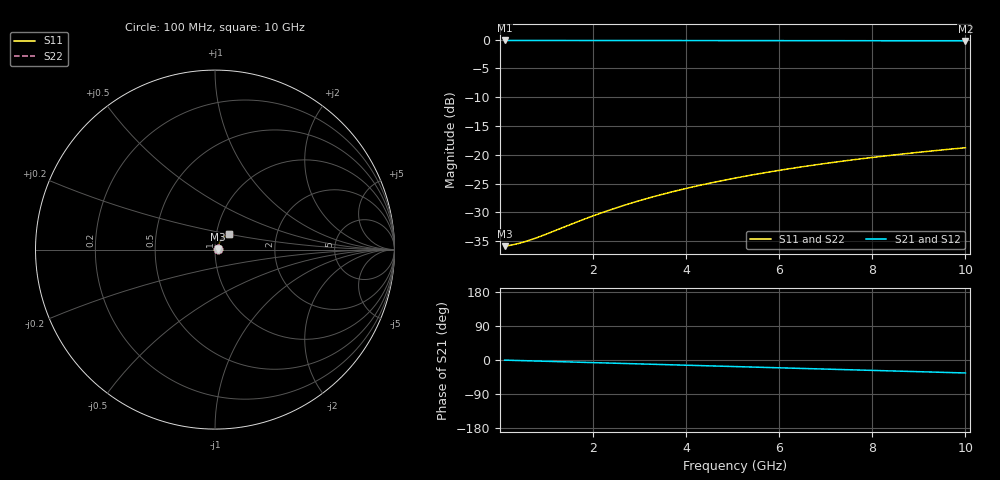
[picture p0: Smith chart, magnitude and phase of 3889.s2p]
# Hz S RI R 50.00
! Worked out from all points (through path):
!   100 points, 100 MHz to 10 GHz, reference 50 ohm
!   highest |S21| = -0.14 dB at 100 MHz (marker M1); lowest = -0.2 dB at 10 GHz (marker M2)
!   group delay of S21, straight-line fit = 9.52 ps
!   lowest |S11| = -35.8 dB at 100 MHz (marker M3), VSWR 1.03, Z = 51.6 + j0.116 ohm
!   |S11| at or under -10 dB: start of sweep to end of sweep
!   |S22| runs from -35.8 to -18.8 dB; largest |S21 - S12| = 0
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1e8  0.0161 0.00112  0.9839 -0.0059  0.9839 -0.0059  0.0161 0.00112
3e8  0.0163 0.00337  0.9836 -0.0177  0.9836 -0.0177  0.0163 0.00337
4e8  0.0164 0.00449  0.9834 -0.0236  0.9834 -0.0236  0.0164 0.00449
5e8  0.0165 0.00561  0.9831 -0.0295  0.9831 -0.0295  0.0165 0.00561
7e8  0.0168 0.00784  0.9826 -0.0413  0.9826 -0.0413  0.0168 0.00784
1e9  0.0172 0.0112  0.9816 -0.059  0.9816 -0.059  0.0172 0.0112
1.8e9  0.019 0.02  0.9772 -0.1059  0.9772 -0.1059  0.019 0.02
2.2e9  0.0201 0.0243  0.9742 -0.1293  0.9742 -0.1293  0.0201 0.0243
2.6e9  0.0215 0.0286  0.9706 -0.1526  0.9706 -0.1526  0.0215 0.0286
3e9  0.0231 0.0328  0.9664 -0.1758  0.9664 -0.1758  0.0231 0.0328
3.4e9  0.0248 0.0369  0.9617 -0.1989  0.9617 -0.1989  0.0248 0.0369
3.8e9  0.0268 0.0409  0.9564 -0.2218  0.9564 -0.2218  0.0268 0.0409
4.2e9  0.029 0.0448  0.9506 -0.2446  0.9506 -0.2446  0.029 0.0448
4.6e9  0.0313 0.0486  0.9442 -0.2672  0.9442 -0.2672  0.0313 0.0486
5.1e9  0.0345 0.0532  0.9354 -0.2952  0.9354 -0.2952  0.0345 0.0532
5.5e9  0.0372 0.0567  0.9277 -0.3174  0.9277 -0.3174  0.0372 0.0567
5.9e9  0.0401 0.0601  0.9196 -0.3393  0.9196 -0.3393  0.0401 0.0601
6.7e9  0.0464 0.0664  0.9016 -0.3826  0.9016 -0.3826  0.0464 0.0664
7.5e9  0.0533 0.0721  0.8816 -0.4248  0.8816 -0.4248  0.0533 0.0721
8.4e9  0.0617 0.0776  0.8568 -0.471  0.8568 -0.471  0.0617 0.0776
9.2e9  0.0695 0.0818  0.8327 -0.5107  0.8327 -0.5107  0.0695 0.0818
1e10  0.0778 0.0851  0.8067 -0.5492  0.8067 -0.5492  0.0778 0.0851
